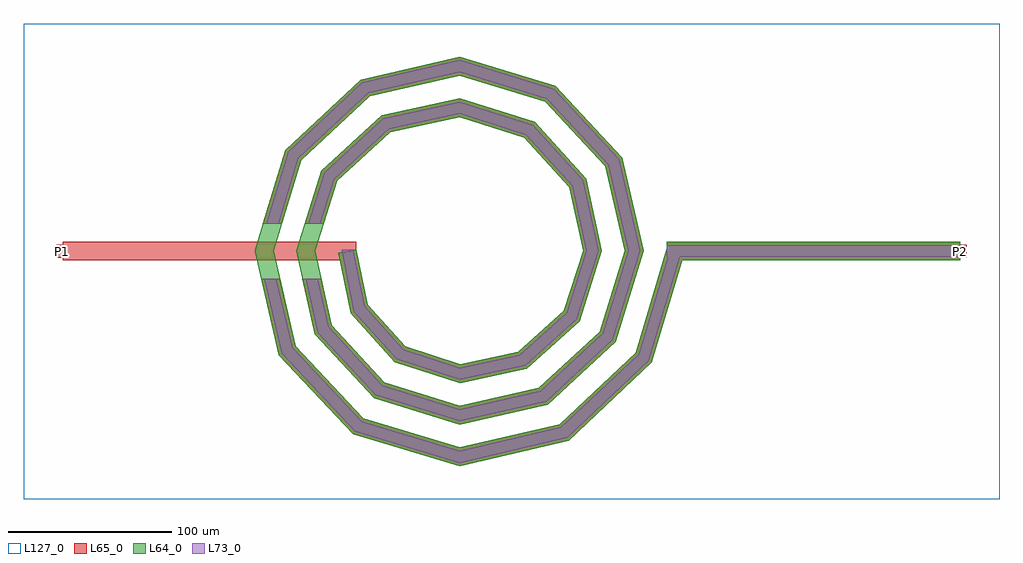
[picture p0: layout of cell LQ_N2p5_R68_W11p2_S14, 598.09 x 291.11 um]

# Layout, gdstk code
import gdstk
lib = gdstk.Library(unit=1e-6, precision=1e-09)
def R(c, l, rs):  # rectangles x0, y0, x1, y1
    for r in rs: c.add(gdstk.rectangle(r[:2], r[2:], *l))
def P(c, l, *ps):  # polygons
    for p in ps: c.add(gdstk.Polygon(p, *l))
L64_0 = (64, 0)
L65_0 = (65, 0)
L73_0 = (73, 0)
L127_0 = (127, 0)

lq_n2p5_r68_w11p2_s14 = lib.new_cell('LQ_N2p5_R68_W11p2_S14')
R(lq_n2p5_r68_w11p2_s14, L64_0, [(126.905,-5.6,306.905,5.6)])
P(lq_n2p5_r68_w11p2_s14, L64_0, [(-56.23,-32.838),(-33.347,-58.388),(0.305,-69.363),(36.001,-61.761),(63.893,-36.555),(75.734,0.282),(67.29,39.167),(39.759,69.4),(0.261,82.106),(-42.336,72.817),(-74.909,42.961),(-88.478,0.244),(-78.344,-45.507),(-46.161,-80.419),(0.228,-94.849),(48.68,-83.87),(85.93,-49.359),(101.221,0.215),(89.394,51.855),(52.556,91.442),(0.203,107.593),(-55.031,94.919),(-96.955,55.752),(-113.965,0.192),(-100.442,-58.208),(-58.946,-102.468),(0.182,-120.338),(61.386,-105.965),(107.982,-62.14),(127.142,1.612),(137.868,-1.612),(117.844,-68.241),(66.871,-116.182),(0.182,-131.928),(-65.062,-112.321),(-110.668,-63.676),(-125.555,0.192),(-106.797,61.884),(-60.481,105.154),(0.203,119.182),(58.708,101.272),(99.641,57.285),(112.81,0.215),(95.747,-55.532),(54.087,-94.128),(0.228,-106.437),(-52.358,-90.221),(-88.617,-50.888),(-100.064,0.244),(-84.694,49.186),(-47.687,83.106),(0.261,93.691),(46.015,79.165),(77.596,44.483),(87.318,0.282),(73.635,-42.847),(41.277,-72.088),(0.305,-80.944),(-39.682,-68.103),(-66.582,-38.067),(-74.264,-1.141),(-63.299,1.141)])
R(lq_n2p5_r68_w11p2_s14, L65_0, [(-243.181,-5.6,-63.181,5.6), (126.905,-5.6,306.905,5.6), (-247.181,-4,-239.181,4), (302.905,-4,310.905,4)])
P(lq_n2p5_r68_w11p2_s14, L65_0, [(-100.442,-58.208),(-58.946,-102.469),(0.182,-120.338),(61.386,-105.965),(107.982,-62.14),(127.142,1.612),(137.868,-1.612),(117.844,-68.241),(66.871,-116.182),(0.182,-131.928),(-65.062,-112.321),(-110.668,-63.676),(-121.594,-16.8),(-110.094,-16.8)],
  [(-78.344,-45.507),(-46.161,-80.419),(0.228,-94.849),(48.68,-83.87),(85.93,-49.359),(101.221,0.215),(89.394,51.855),(52.556,91.442),(0.203,107.593),(-55.031,94.919),(-96.955,55.752),(-108.799,16.8),(-120.505,16.8),(-106.797,61.885),(-60.481,105.154),(0.203,119.182),(58.708,101.272),(99.641,57.285),(112.81,0.215),(95.747,-55.532),(54.087,-94.128),(0.228,-106.437),(-52.358,-90.221),(-88.617,-50.888),(-96.248,-16.8),(-84.771,-16.8)],
  [(-33.347,-58.388),(0.306,-69.363),(36.001,-61.761),(63.893,-36.555),(75.734,0.282),(67.29,39.167),(39.759,69.4),(0.261,82.106),(-42.336,72.818),(-74.909,42.961),(-83.125,16.8),(-94.864,16.8),(-84.694,49.186),(-47.687,83.106),(0.261,93.691),(46.015,79.165),(77.596,44.483),(87.318,0.282),(73.635,-42.847),(41.277,-72.088),(0.306,-80.944),(-39.682,-68.103),(-66.582,-38.067),(-74.264,-1.141),(-63.299,1.141),(-56.23,-32.838)])
R(lq_n2p5_r68_w11p2_s14, L73_0, [(126.905,-3.6,306.905,3.6)])
P(lq_n2p5_r68_w11p2_s14, L73_0, [(-102.268,-59.184),(-60.038,-104.228),(0.117,-122.407),(62.365,-107.79),(109.743,-63.23),(129.057,1.036),(135.953,-1.036),(116.083,-67.151),(65.891,-114.358),(0.117,-129.858),(-63.97,-110.561),(-108.842,-62.7),(-119.541,-16.8),(-112.148,-16.8)],
  [(-80.179,-46.468),(-47.268,-82.169),(0.147,-96.919),(49.646,-85.702),(87.683,-50.461),(103.291,0.138),(91.224,52.825),(53.654,93.198),(0.13,109.663),(-56.004,96.746),(-98.713,56.847),(-110.889,16.8),(-118.415,16.8),(-105.039,60.789),(-59.508,103.326),(0.13,117.113),(57.609,99.517),(97.811,56.315),(110.74,0.138),(93.994,-54.43),(53.122,-92.297),(0.147,-104.368),(-51.252,-88.47),(-86.782,-49.927),(-94.199,-16.8),(-86.82,-16.8)],
  [(-34.479,-60.123),(0.196,-71.431),(36.943,-63.605),(65.633,-37.678),(77.803,0.181),(69.13,40.116),(40.876,71.144),(0.168,84.175),(-43.291,74.655),(-76.656,44.073),(-85.221,16.8),(-92.768,16.8),(-82.946,48.074),(-46.731,81.269),(0.168,91.622),(44.898,77.421),(75.756,43.534),(85.249,0.181),(71.895,-41.723),(40.335,-70.244),(0.196,-78.876),(-38.551,-66.368),(-64.733,-37.133),(-72.306,0.733),(-65.257,0.733),(-58.078,-33.772)])
R(lq_n2p5_r68_w11p2_s14, L127_0, [(-267.181,-151.928,330.905,139.182)])
lq_n2p5_r68_w11p2_s14.add(gdstk.Label('P2', (306.905,0), layer=65, texttype=0))
lq_n2p5_r68_w11p2_s14.add(gdstk.Label('P1', (-243.181,0), layer=65, texttype=0))
lq_n2p5_r68_w11p2_s14.add(gdstk.Label('P2', (310.905,0), layer=145, texttype=0))
lq_n2p5_r68_w11p2_s14.add(gdstk.Label('P1', (-247.181,0), layer=145, texttype=0))

lib.write_gds('LQ_N2p5_R68_W11p2_S14.gds')
